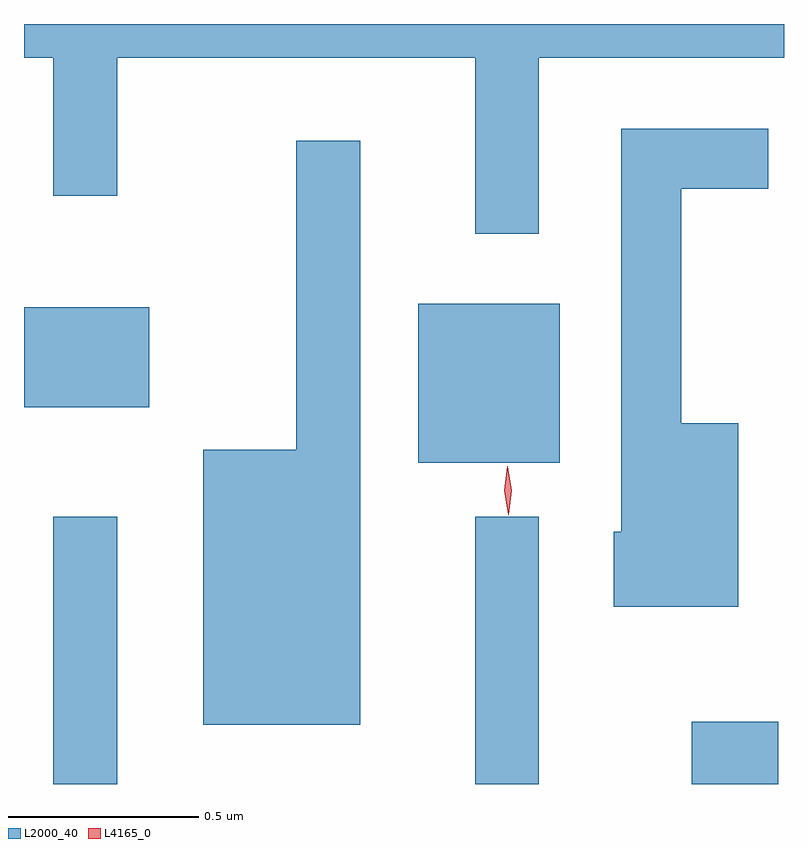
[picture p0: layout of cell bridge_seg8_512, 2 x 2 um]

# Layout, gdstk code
import gdstk
lib = gdstk.Library(unit=1e-6, precision=1e-09)
def R(c, l, rs):  # rectangles x0, y0, x1, y1
    for r in rs: c.add(gdstk.rectangle(r[:2], r[2:], *l))
def P(c, l, *ps):  # polygons
    for p in ps: c.add(gdstk.Polygon(p, *l))
L2000_40 = (2000, 40)
L4165_0 = (4165, 0)

bridge_seg8_512 = lib.new_cell('bridge_seg8_512')
R(bridge_seg8_512, L2000_40, [(384.731,1892.225,384.899,1892.928), (385.841,1892.225,386.009,1892.928), (386.411,1892.225,386.639,1892.389), (385.691,1893.071,386.064,1893.489), (384.654,1893.216,384.984,1893.479)])
P(bridge_seg8_512, L2000_40, [(386.009,1894.136),(386.654,1894.136),(386.654,1894.225),(384.654,1894.225),(384.654,1894.136),(384.731,1894.136),(384.731,1893.773),(384.899,1893.773),(384.899,1894.136),(385.841,1894.136),(385.841,1893.673),(386.009,1893.673)],
  [(386.534,1893.174),(386.384,1893.174),(386.384,1893.791),(386.613,1893.791),(386.613,1893.949),(386.226,1893.949),(386.226,1892.889),(386.206,1892.889),(386.206,1892.691),(386.534,1892.691)],
  [(385.539,1893.918),(385.371,1893.918),(385.371,1893.104),(385.126,1893.104),(385.126,1892.381),(385.539,1892.381)])
P(bridge_seg8_512, L4165_0, [(385.929,1892.932),(385.928,1892.933),(385.918,1892.997),(385.926,1893.061),(385.926,1893.061),(385.927,1893.061),(385.937,1892.997),(385.93,1892.933)])

lib.write_gds('bridge_seg8_512.gds')
